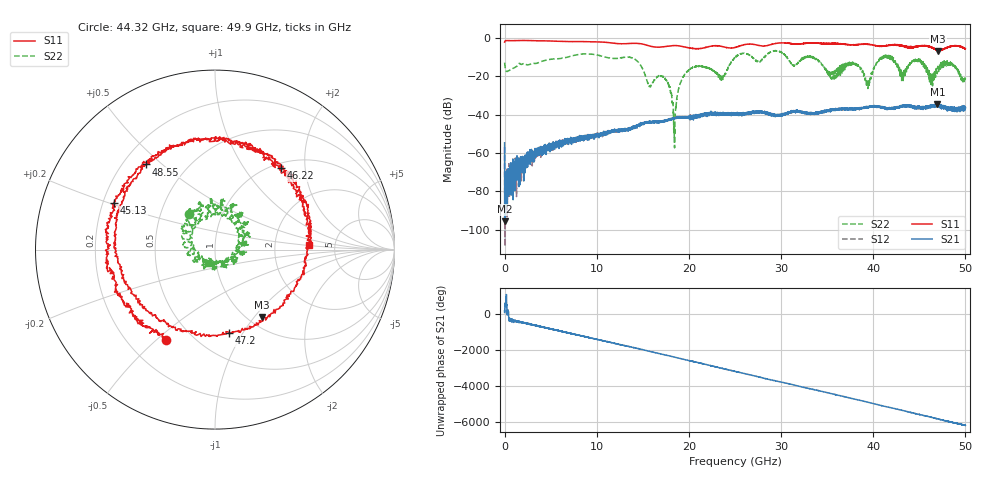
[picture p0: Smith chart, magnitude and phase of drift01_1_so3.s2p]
!Created with skrf (http://scikit-rf.org).
# Hz S RI R 50.0
!freq ReS11 ImS11 ReS21 ImS21 ReS12 ImS12 ReS22 ImS22
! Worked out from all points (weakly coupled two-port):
!   10001 points, 300 kHz to 50 GHz, reference 50 ohm
!   highest |S21| = -34.47 dB at 46.96 GHz (marker M1); lowest = -95.6 dB at 10.3 MHz (marker M2)
!   lowest |S11| = -6.8 dB at 47.03 GHz (marker M3), VSWR 2.69, Z = 57.7 - j54.7 ohm
!   |S11| at or under -10 dB: nowhere
!   |S22| runs from -57.4 to -6.6 dB; largest |S21 - S12| = 0.0048
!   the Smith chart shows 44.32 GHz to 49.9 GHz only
!   S11 on the Smith chart (normalised r, x): 44.32 GHz: 0.36, -0.54; 45.13 GHz: 0.25, +0.21; 46.22 GHz: 1.09, +1.49; 47.2 GHz: 0.73, -0.87; 48.55 GHz: 0.29, +0.44; 49.9 GHz: 3.21, +0.22
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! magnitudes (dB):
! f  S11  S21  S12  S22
! 300 kHz  -2.2  -54.7  -57.0  -12.9
! 10.3 MHz  -2.1  -95.6  -80.1  -13.5
! 255.3 MHz  -1.4  -70.2  -78.0  -17.5
! 8.335 GHz  -2.0  -52.5  -52.0  -8.5
! 16.67 GHz  -4.9  -43.8  -43.8  -19.9
! 17.74 GHz  -4.3  -42.5  -43.1  -23.5
! 18.42 GHz  -4.1  -41.4  -41.9  -52.0
! 19.9 GHz  -5.1  -41.5  -41.4  -17.1
! 23.59 GHz  -4.5  -39.4  -39.2  -20.1
! 25 GHz  -5.0  -39.8  -39.5  -10.3
! 33.34 GHz  -2.6  -39.0  -39.4  -9.9
! 39.37 GHz  -3.4  -36.3  -36.2  -23.3
! 41.67 GHz  -3.9  -36.7  -36.7  -9.7
! 44.32 GHz  -4.8  -35.9  -35.9  -12.3
! 45.13 GHz  -4.2  -37.1  -36.1  -12.9
! 46.22 GHz  -4.7  -35.7  -35.7  -19.7
! 46.96 GHz  -6.3  -34.5  -35.1  -17.1
! 47.03 GHz  -6.8  -35.3  -35.7  -15.0
! 47.2 GHz  -6.5  -35.5  -35.8  -14.1
! 48.55 GHz  -4.3  -36.2  -37.3  -13.3
! 49.9 GHz  -5.6  -36.5  -37.1  -21.9
! 50 GHz  -5.6  -36.6  -36.5  -21.6
